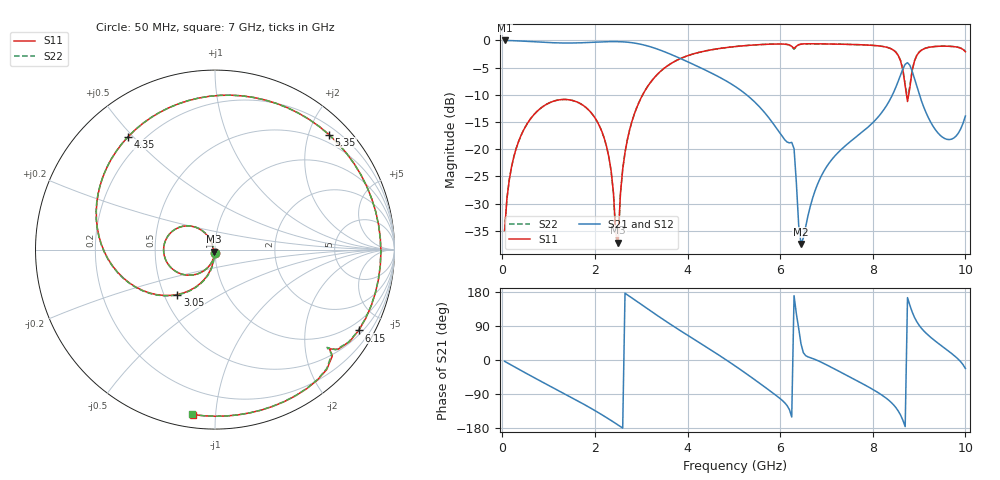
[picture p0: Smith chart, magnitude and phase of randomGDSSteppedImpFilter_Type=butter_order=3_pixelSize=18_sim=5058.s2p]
! freq	dB(S11)	phase(S11)	dB(S12)	phase(S12)
!  dB(S21)	phase(S21)	dB(S22)	phase(S22)
!S-par simulation data
#  GHz  S  DB  R 50
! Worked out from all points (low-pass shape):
!   200 points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, 50 MHz to 10 GHz, reference 50 ohm
!   highest |S21| = -0.02 dB at 50 MHz (marker M1); lowest = -37.4 dB at 6.45 GHz (marker M2)
!   |S21| within 3 dB of the highest: start of sweep to 3.762 GHz
!   lowest |S11| = -37.2 dB at 2.5 GHz (marker M3), VSWR 1.03, Z = 49.3 - j1.19 ohm
!   |S11| at or under -10 dB: start of sweep to 3.032 GHz; 8.728 GHz to 8.775 GHz (46.64 MHz wide, 0.533 % of centre)
!   |S22| runs from -37.8 to -0.6 dB; largest |S21 - S12| = 0
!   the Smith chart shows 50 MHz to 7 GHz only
!   S11 on the Smith chart (normalised r, x): 50 MHz: 1.00, -0.04; 3.05 GHz: 0.58, -0.33; 4.35 GHz: 0.14, +0.48; 5.35 GHz: 0.34, +2.36; 6.15 GHz: 0.64, -3.71; 7 GHz: 0.07, -0.87
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0.05  -34.98 -90.2  -0.02 -3.5  -0.02 -3.5  -34.98 -90.2
0.55  -15.16 -127.8  -0.19 -37.4  -0.19 -37.4  -15.16 -127.8
1.75  -11.97 154.1  -0.43 -116.1  -0.43 -116.1  -11.97 153.9
2.25  -19.45 121.1  -0.25 -151.9  -0.25 -151.9  -19.47 120.2
2.5  -37.16 -119.8  -0.24 -171.5  -0.24 -171.5  -37.83 -112.8
2.65  -20.61 -100.2  -0.30 176.3  -0.30 176.3  -20.62 -98.9
3.05  -9.71 -130.0  -0.83 142.5  -0.83 142.5  -9.71 -129.5
3.4  -5.83 -158.6  -1.76 113.1  -1.76 113.1  -5.83 -158.3
4.35  -2.01 127.5  -5.32 38.5  -5.32 38.5  -2.01 127.7
5.05  -1.12 71.4  -8.60 -17.5  -8.60 -17.5  -1.12 71.4
5.35  -0.89 45.2  -10.54 -43.2  -10.54 -43.2  -0.90 45.2
6.15  -0.74 -29.3  -18.69 -120.3  -18.69 -120.3  -0.76 -29.8
6.3  -1.47 -40.9  -19.90 169.8  -19.90 169.8  -1.63 -41.1
6.45  -0.69 -52.0  -37.44 42.7  -37.44 42.7  -0.70 -51.8
6.7  -0.62 -74.0  -29.03 4.0  -29.03 4.0  -0.63 -74.1
7  -0.66 -97.7  -23.28 -12.6  -23.28 -12.6  -0.66 -97.8
8.35  -1.39 167.2  -11.24 -106.7  -11.24 -106.7  -1.38 167.3
8.6  -3.76 140.2  -6.36 -145.3  -6.36 -145.3  -3.70 140.9
8.75  -11.24 159.8  -4.11 164.6  -4.11 164.6  -10.66 159.6
8.85  -5.62 -171.0  -5.65 127.1  -5.65 127.1  -5.50 -173.0
9.2  -1.30 151.6  -14.21 65.2  -14.21 65.2  -1.29 150.8
10  -2.09 93.4  -13.91 -22.4  -13.91 -22.4  -1.97 93.4
